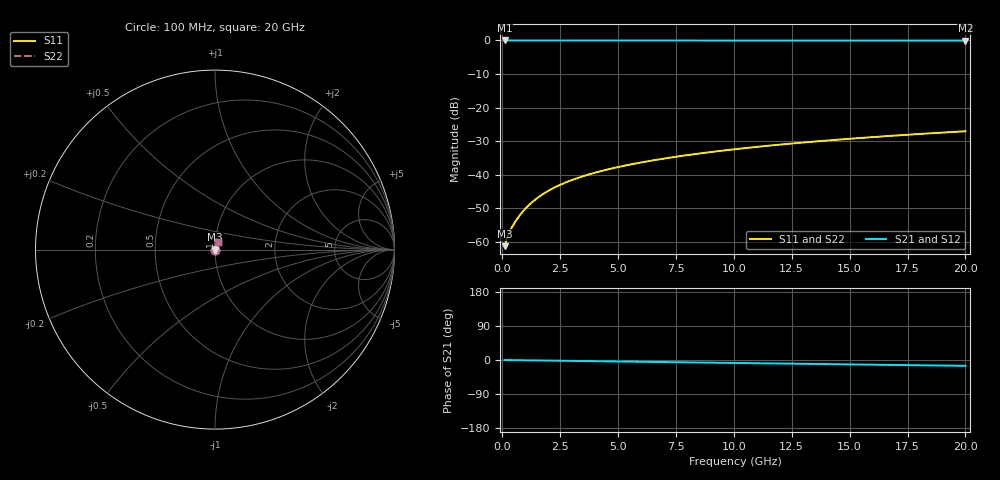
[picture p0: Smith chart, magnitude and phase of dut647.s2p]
! Touchstone file exported from HFSS 2026.1.0
!  File:  C:/ffzhzh/LocalFiles/Ansys_Project_Files/temp_train_TMRDL_647_1783009481_4048.aedt
!  Generated:  12:25:57 AM Jul  3, 2026
!  Design:  TMRDL
!  Project:  temp_train_TMRDL_647_1783009481_4048
! Variables:
!  h_bsmrdl = 2um
!  h_ox = 20um
!  h_rdl = 5um
!  h_sub = 80um
!  h_tmrdl = 5.62um
!  h_tsv = 80um
!  h_via = 3um
!  l_bsmrdl = 300um
!  l_sub = 653.69um
!  l_tmrdl = 253.69um
!  m_sub = 200um
!  pitch = 38.92um
!  r_tsv = 6um
!  s_tmrdl = 10um
!  w_bsmrdl = 18um
!  w_sub = 500um
!  w_tmrdl = 29.72um
!  x_tsv_center1 = 268.55um
!  x_tsv_center2 = 586.55um
!  x_tsv_center3 = 869.96um
!  x_tsv_center4 = 1187.96um
!  x_tsv_center5 = 1471.37um
!  x_tsv_center6 = 1789.37um
# GHz S MA R 50.000000
! Terminal data exported
! Port[1] = TM_RDL1_1_T1
! Port[2] = TM_RDL1_1_T2
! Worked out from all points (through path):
!   200 points, 100 MHz to 20 GHz, reference 50 ohm
!   highest |S21| = -0.01 dB at 100 MHz (marker M1); lowest = -0.1 dB at 20 GHz (marker M2)
!   group delay of S21, straight-line fit = 2.14 ps
!   lowest |S11| = -61.3 dB at 100 MHz (marker M3), VSWR 1.00, Z = 50.1 + j0.0434 ohm
!   |S11| at or under -10 dB: start of sweep to end of sweep
!   |S22| runs from -61.3 to -27.0 dB; largest |S21 - S12| = 5.3e-15
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0.1  0.0008648 30.0  0.9993 -0.1  0.9993 -0.1  0.0008648 30.0
! Gamma 0 0 0 0
! Port Impedance 50 0 50 0
0.2  0.00114 40.8  0.9991 -0.2  0.9991 -0.2  0.00114 40.8
0.3  0.001379 47.3  0.9991 -0.3  0.9991 -0.3  0.001379 47.3
0.5  0.001848 56.7  0.999 -0.4  0.999 -0.4  0.001848 56.7
0.6  0.002094 60.1  0.9989 -0.5  0.9989 -0.5  0.002094 60.1
0.8  0.002607 64.9  0.9989 -0.7  0.9989 -0.7  0.002607 64.9
1  0.003135 68.0  0.9988 -0.8  0.9988 -0.8  0.003135 68.0
1.2  0.00367 70.1  0.9988 -1.0  0.9988 -1.0  0.00367 70.1
1.4  0.004207 71.5  0.9987 -1.1  0.9987 -1.1  0.004207 71.5
1.7  0.005007 72.8  0.9986 -1.4  0.9986 -1.4  0.005007 72.8
2.2  0.006317 73.9  0.9984 -1.8  0.9984 -1.8  0.006317 73.9
2.8  0.007838 74.4  0.9982 -2.2  0.9982 -2.2  0.007838 74.4
3.5  0.009544 74.5  0.9979 -2.8  0.9979 -2.8  0.009544 74.5
4.2  0.01119 74.4  0.9976 -3.3  0.9976 -3.3  0.01119 74.4
5  0.01302 74.3  0.9973 -4.0  0.9973 -4.0  0.01302 74.3
5.9  0.01504 74.1  0.9969 -4.6  0.9969 -4.6  0.01504 74.1
6.8  0.01702 73.8  0.9967 -5.3  0.9967 -5.3  0.01702 73.8
8.3  0.02028 73.4  0.9962 -6.5  0.9962 -6.5  0.02028 73.4
10.1  0.02413 72.6  0.9957 -7.9  0.9957 -7.9  0.02413 72.7
13.4  0.03106 71.0  0.9949 -10.4  0.9949 -10.4  0.03106 71.1
16.7  0.03783 69.2  0.9941 -12.9  0.9941 -12.9  0.03783 69.2
20  0.04444 67.2  0.9933 -15.4  0.9933 -15.4  0.04444 67.2
